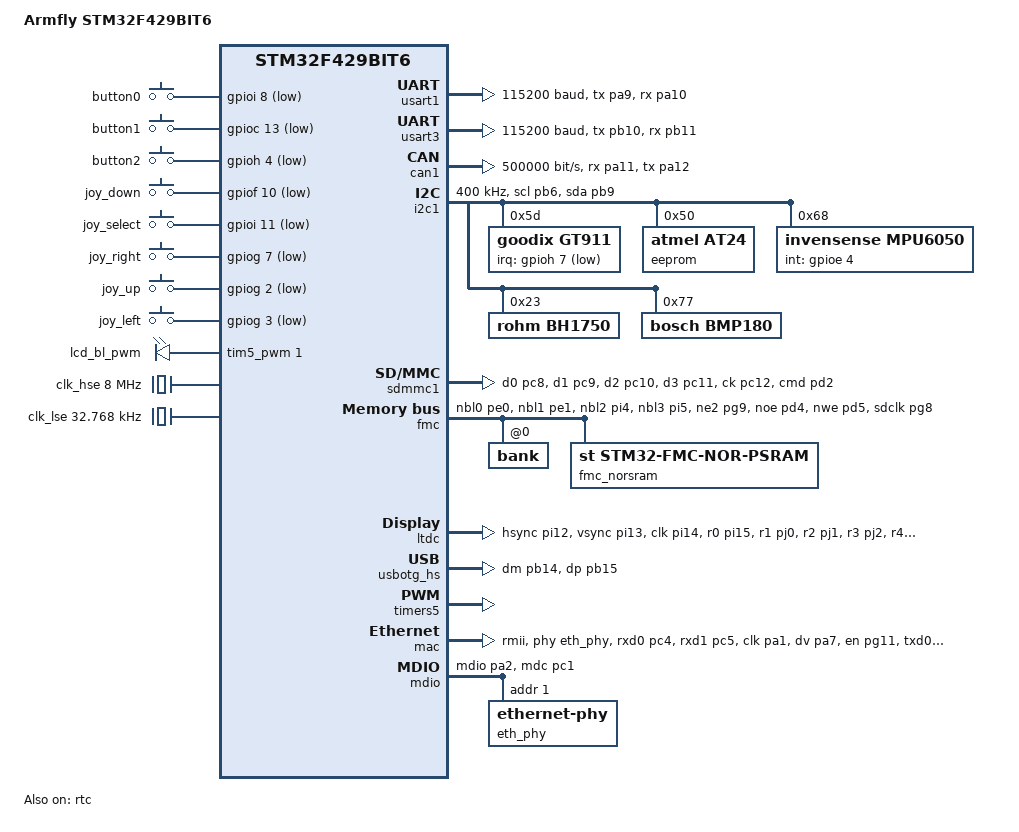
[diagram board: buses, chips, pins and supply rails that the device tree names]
/*
 * Copyright (c) 2026 Manyi Yu
 *
 * SPDX-License-Identifier: Apache-2.0
 */

/dts-v1/;
#include <st/f4/stm32f429Xi.dtsi>
#include <st/f4/stm32f429b(e-g-i)tx-pinctrl.dtsi>
#include <zephyr/dt-bindings/input/input-event-codes.h>
#include <zephyr/dt-bindings/memory-attr/memory-attr-arm.h>
#include <zephyr/dt-bindings/pwm/pwm.h>
#include <zephyr/dt-bindings/memory-controller/stm32-fmc-nor-psram.h>

/ {
	model = "Armfly STM32F429BIT6";
	compatible = "armfly,stm32f429bit6";

	chosen {
		zephyr,console = &usart1;
		zephyr,shell-uart = &usart1;
		zephyr,sram = &sram0;
		zephyr,flash = &flash0;
		zephyr,dtcm = &ccm0;
		zephyr,display = &ltdc;
		zephyr,touch = &gt911;
	};

	sdram1: sdram@c0000000 {
		compatible = "zephyr,memory-region", "mmio-sram";
		device_type = "memory";
		reg = <0xc0000000 DT_SIZE_M(16)>;
		zephyr,memory-region = "SDRAM1";
	};

	latch_gpio: gpio@64001000 {
		compatible = "gpio-mmio-latch";
		reg = <0x64001000 0x4>;
		gpio-controller;
		#gpio-cells = <2>;
		ngpios = <32>;
		initial-output = <0x00000f14>;
		status = "disabled";
	};

	leds: leds {
		compatible = "gpio-leds";
		status = "disabled";

		led0: led_0 {
			gpios = <&latch_gpio 8 GPIO_ACTIVE_LOW>;
		};

		led1: led_1 {
			gpios = <&latch_gpio 9 GPIO_ACTIVE_LOW>;
		};

		led2: led_2 {
			gpios = <&latch_gpio 10 GPIO_ACTIVE_LOW>;
		};

		led3: led_3 {
			gpios = <&latch_gpio 11 GPIO_ACTIVE_LOW>;
		};
	};

	buttons {
		compatible = "gpio-keys";
		polling-mode;

		button0: button_0 {
			gpios = <&gpioi 8 GPIO_ACTIVE_LOW>;
			zephyr,code = <INPUT_KEY_0>;
		};

		button1: button_1 {
			gpios = <&gpioc 13 GPIO_ACTIVE_LOW>;
			zephyr,code = <INPUT_KEY_1>;
		};

		button2: button_2 {
			gpios = <&gpioh 4 GPIO_ACTIVE_LOW>;
			zephyr,code = <INPUT_KEY_2>;
		};

		joy_down: joy-down {
			gpios = <&gpiof 10 GPIO_ACTIVE_LOW>;
			zephyr,code = <INPUT_KEY_DOWN>;
		};

		joy_select: joy-select {
			gpios = <&gpioi 11 GPIO_ACTIVE_LOW>;
			zephyr,code = <INPUT_KEY_ENTER>;
		};

		joy_right: joy-right {
			gpios = <&gpiog 7 GPIO_ACTIVE_LOW>;
			zephyr,code = <INPUT_KEY_RIGHT>;
		};

		joy_up: joy-up {
			gpios = <&gpiog 2 GPIO_ACTIVE_LOW>;
			zephyr,code = <INPUT_KEY_UP>;
		};

		joy_left: joy-left {
			gpios = <&gpiog 3 GPIO_ACTIVE_LOW>;
			zephyr,code = <INPUT_KEY_LEFT>;
		};
	};

	aliases {
		sw0 = &button0;
		sw1 = &button1;
		sw2 = &button2;
		sw3 = &joy_select;
		sw4 = &joy_down;
		sw5 = &joy_right;
		sw6 = &joy_up;
		sw7 = &joy_left;
		backlight-pwm = &lcd_bl_pwm;
	};

	backlight_pwm: backlight {
		compatible = "pwm-leds";

		lcd_bl_pwm: bl0 {
			pwms = <&tim5_pwm 1 PWM_USEC(100) PWM_POLARITY_NORMAL>;
		};
	};
};

&clk_lsi {
	status = "okay";
};

&clk_hse {
	clock-frequency = <DT_FREQ_M(8)>;
	status = "okay";
};

&clk_lse {
	clock-frequency = <32768>;
	status = "okay";
};

&pll {
	div-m = <8>;
	mul-n = <336>;
	div-p = <2>;
	div-q = <7>;
	clocks = <&clk_hse>;
	status = "okay";
};

&pllsai {
	div-m = <8>;
	mul-n = <420>;
	div-r = <7>;
	post-div-r = <2>;
	clocks = <&clk_hse>;
	status = "okay";
};

&rcc {
	clocks = <&pll>;
	clock-frequency = <DT_FREQ_M(168)>;
	ahb-prescaler = <1>;
	apb1-prescaler = <4>;
	apb2-prescaler = <2>;
};

&usart1 {
	pinctrl-0 = <&usart1_tx_pa9 &usart1_rx_pa10>;
	pinctrl-names = "default";
	current-speed = <115200>;
	status = "okay";
};

&usart2 {
	status = "disabled";
	pinctrl-0 = <&usart2_tx_pa2 &usart2_rx_pa3>;
	pinctrl-names = "default";
	current-speed = <115200>;
};

&usart3 {
	status = "okay";
	pinctrl-0 = <&usart3_tx_pb10 &usart3_rx_pb11>;
	pinctrl-names = "default";
	current-speed = <115200>;
};

&can1 {
	status = "okay";
	pinctrl-0 = <&can1_rx_pa11 &can1_tx_pa12>;
	pinctrl-names = "default";
	bitrate = <500000>;
};

&can2 {
	status = "disabled";
	pinctrl-0 = <&can2_rx_pb12 &can2_tx_pb13>;
	pinctrl-names = "default";
	bitrate = <500000>;
};

&rtc {
	clocks = <&rcc STM32_CLOCK(APB1, 28)>, <&rcc STM32_SRC_LSI RTC_SEL(2)>;
	status = "okay";
};

&i2c1 {
	pinctrl-0 = <&i2c1_scl_pb6 &i2c1_sda_pb9>;
	pinctrl-names = "default";
	status = "okay";
	clock-frequency = <I2C_BITRATE_FAST>;

	gt911: gt911@5d {
		compatible = "goodix,gt911";
		reg = <0x5d>;
		irq-gpios = <&gpioh 7 (GPIO_ACTIVE_LOW | GPIO_PULL_UP)>;
		alt-addr = <0x14>;
	};

	eeprom: eeprom@50 {
		compatible = "atmel,at24";
		reg = <0x50>;
		size = <DT_SIZE_K(16)>;
		pagesize = <64>;
		address-width = <16>;
		timeout = <5>;
		status = "okay";
	};

	mpu6050: accel-gyro@68 {
		compatible = "invensense,mpu6050";
		reg = <0x68>;
		int-gpios = <&gpioe 4 GPIO_ACTIVE_HIGH>;
		accel-fs = <2>;
		gyro-fs = <250>;
		smplrt-div = <249>;
		status = "okay";
	};

	bh1750: light-sensor@23 {
		compatible = "rohm,bh1750";
		reg = <0x23>;
		resolution = <1>;
		mtreg = <69>;
		status = "okay";
	};

	bmp180: pressure-sensor@77 {
		compatible = "bosch,bmp180";
		reg = <0x77>;
		osr-press = <3>;
		status = "okay";
	};
};

&spi1 {
	status = "disabled";
	pinctrl-0 = <&spi1_sck_pa5 &spi1_miso_pa6 &spi1_mosi_pa7>;
	pinctrl-names = "default";
	cs-gpios = <&gpiof 11 GPIO_ACTIVE_LOW>, <&gpiog 11 GPIO_ACTIVE_LOW>,
		   <&gpioc 3 GPIO_ACTIVE_LOW>;

	w25q64: spi-nor-flash@0 {
		compatible = "jedec,spi-nor";
		reg = <0>;
		spi-max-frequency = <50000000>;
		jedec-id = [ef 40 17];
		size = <DT_SIZE_M(8)>;
		status = "disabled";
	};
};

&sdmmc1 {
	status = "okay";
	pinctrl-0 = <&sdio_d0_pc8
		     &sdio_d1_pc9
		     &sdio_d2_pc10
		     &sdio_d3_pc11
		     &sdio_ck_pc12
		     &sdio_cmd_pd2>;
	pinctrl-names = "default";
	cd-gpios = <&gpioe 2 GPIO_ACTIVE_LOW>;
	disk-name = "SD";
	clocks = <&rcc STM32_CLOCK(APB2, 11)>, <&rcc STM32_SRC_PLL_Q CK48M_SEL(0)>;
};

&fmc {
	status = "okay";
	pinctrl-0 = <&fmc_nbl0_pe0 &fmc_nbl1_pe1
		     &fmc_nbl2_pi4 &fmc_nbl3_pi5
		     &fmc_ne2_pg9
		     &fmc_noe_pd4
		     &fmc_nwe_pd5
		     &fmc_sdclk_pg8
		     &fmc_sdcke0_ph2 &fmc_sdne0_ph3 &fmc_sdnwe_ph5
		     &fmc_sdnras_pf11 &fmc_sdncas_pg15
		     &fmc_a0_pf0 &fmc_a1_pf1 &fmc_a2_pf2 &fmc_a3_pf3
		     &fmc_a4_pf4 &fmc_a5_pf5 &fmc_a6_pf12 &fmc_a7_pf13
		     &fmc_a8_pf14 &fmc_a9_pf15 &fmc_a10_pg0 &fmc_a11_pg1
		     &fmc_a14_pg4 &fmc_a15_pg5
		     &fmc_d0_pd14 &fmc_d1_pd15 &fmc_d2_pd0 &fmc_d3_pd1
		     &fmc_d4_pe7 &fmc_d5_pe8 &fmc_d6_pe9 &fmc_d7_pe10
		     &fmc_d8_pe11 &fmc_d9_pe12 &fmc_d10_pe13 &fmc_d11_pe14
		     &fmc_d12_pe15 &fmc_d13_pd8 &fmc_d14_pd9 &fmc_d15_pd10
		     &fmc_d16_ph8 &fmc_d17_ph9 &fmc_d18_ph10 &fmc_d19_ph11
		     &fmc_d20_ph12 &fmc_d21_ph13 &fmc_d22_ph14 &fmc_d23_ph15
		     &fmc_d24_pi0 &fmc_d25_pi1 &fmc_d26_pi2 &fmc_d27_pi3
		     &fmc_d28_pi6 &fmc_d29_pi7 &fmc_d30_pi9 &fmc_d31_pi10>;
	pinctrl-names = "default";

	sdram {
		status = "okay";
		power-up-delay = <100>;
		num-auto-refresh = <8>;
		mode-register = <0x230>;
		refresh-rate = <1292>;

		bank@0 {
			reg = <0>;

			st,sdram-control = <STM32_FMC_SDRAM_NC_8
					    STM32_FMC_SDRAM_NR_12
					    STM32_FMC_SDRAM_MWID_32
					    STM32_FMC_SDRAM_NB_4
					    STM32_FMC_SDRAM_CAS_3
					    STM32_FMC_SDRAM_SDCLK_PERIOD_2
					    STM32_FMC_SDRAM_RBURST_ENABLE
					    STM32_FMC_SDRAM_RPIPE_0>;

			st,sdram-timing = <2 6 4 6 2 2 2>;
		};
	};

	fmc_norsram: sram {
		status = "okay";
		compatible = "st,stm32-fmc-nor-psram";
		#address-cells = <1>;
		#size-cells = <0>;

		latch_bank: bank@2 {
			reg = <STM32_FMC_NORSRAM_BANK2>;

			st,control = <STM32_FMC_DATA_ADDRESS_MUX_DISABLE
				      STM32_FMC_MEMORY_TYPE_SRAM
				      STM32_FMC_NORSRAM_MEM_BUS_WIDTH_32
				      STM32_FMC_BURST_ACCESS_MODE_DISABLE
				      STM32_FMC_WAIT_SIGNAL_POLARITY_LOW
				      STM32_FMC_WAIT_TIMING_BEFORE_WS
				      STM32_FMC_WRITE_OPERATION_ENABLE
				      STM32_FMC_WAIT_SIGNAL_DISABLE
				      STM32_FMC_EXTENDED_MODE_DISABLE
				      STM32_FMC_ASYNCHRONOUS_WAIT_DISABLE
				      STM32_FMC_WRITE_BURST_DISABLE
				      STM32_FMC_CONTINUOUS_CLOCK_SYNC_ONLY
				      STM32_FMC_WRITE_FIFO_ENABLE
				      STM32_FMC_PAGE_SIZE_NONE>;

			st,timing = <3 0 6 3 0 0 STM32_FMC_ACCESS_MODE_A>;
		};
	};
};

&ltdc {
	pinctrl-0 = <&ltdc_hsync_pi12 &ltdc_vsync_pi13 &ltdc_clk_pi14 &ltdc_r0_pi15
		     &ltdc_r1_pj0 &ltdc_r2_pj1 &ltdc_r3_pj2 &ltdc_r4_pj3
		     &ltdc_r5_pj4 &ltdc_r6_pj5 &ltdc_r7_pj6 &ltdc_g0_pj7
		     &ltdc_g1_pj8 &ltdc_g2_pj9 &ltdc_g3_pj10 &ltdc_g4_pj11
		     &ltdc_b0_pj12 &ltdc_b1_pj13 &ltdc_b2_pj14 &ltdc_b3_pj15
		     &ltdc_g5_pk0 &ltdc_g6_pk1 &ltdc_g7_pk2 &ltdc_b4_pk3
		     &ltdc_b5_pk4 &ltdc_b6_pk5 &ltdc_b7_pk6 &ltdc_de_pk7>;
	pinctrl-names = "default";
	ext-sdram = <&sdram1>;
	status = "okay";

	width = <800>;
	height = <480>;
	pixel-format = <PANEL_PIXEL_FORMAT_RGB_888>;

	display-timings {
		compatible = "zephyr,panel-timing";

		de-active = <0>;
		pixelclk-active = <0>;
		hsync-active = <0>;
		vsync-active = <0>;

		hsync-len = <80>;
		hback-porch = <10>;
		hfront-porch = <10>;

		vsync-len = <10>;
		vback-porch = <10>;
		vfront-porch = <10>;
	};

	def-back-color-red = <0x00>;
	def-back-color-green = <0x00>;
	def-back-color-blue = <0x00>;
};

zephyr_udc0: &usbotg_hs {
	pinctrl-0 = <&usb_otg_hs_dm_pb14 &usb_otg_hs_dp_pb15>;
	pinctrl-names = "default";
	status = "okay";
};

&timers5 {
	status = "okay";

	tim5_pwm: pwm {
		compatible = "st,stm32-pwm";
		status = "okay";
		pinctrl-0 = <&tim5_ch1_pa0>;
		pinctrl-names = "default";
	};
};

&mac {
	status = "okay";
	pinctrl-0 = <&eth_rxd0_pc4
		     &eth_rxd1_pc5
		     &eth_ref_clk_pa1
		     &eth_crs_dv_pa7
		     &eth_tx_en_pg11
		     &eth_txd0_pg13
		     &eth_txd1_pb13>;
	pinctrl-names = "default";
	phy-connection-type = "rmii";
	phy-handle = <&eth_phy>;
};

&mdio {
	status = "okay";
	pinctrl-0 = <&eth_mdio_pa2 &eth_mdc_pc1>;
	pinctrl-names = "default";

	eth_phy: ethernet-phy@1 {
		compatible = "ethernet-phy";
		reg = <0x01>;
	};
};

&ltdc_hsync_pi12 {
	slew-rate = "very-high-speed";
};

&ltdc_vsync_pi13 {
	slew-rate = "very-high-speed";
};

&ltdc_clk_pi14 {
	slew-rate = "very-high-speed";
};

&ltdc_r0_pi15 {
	slew-rate = "very-high-speed";
};

&ltdc_r1_pj0 {
	slew-rate = "very-high-speed";
};

&ltdc_r2_pj1 {
	slew-rate = "very-high-speed";
};

&ltdc_r3_pj2 {
	slew-rate = "very-high-speed";
};

&ltdc_r4_pj3 {
	slew-rate = "very-high-speed";
};

&ltdc_r5_pj4 {
	slew-rate = "very-high-speed";
};

&ltdc_r6_pj5 {
	slew-rate = "very-high-speed";
};

&ltdc_r7_pj6 {
	slew-rate = "very-high-speed";
};

&ltdc_g0_pj7 {
	slew-rate = "very-high-speed";
};

&ltdc_g1_pj8 {
	slew-rate = "very-high-speed";
};

&ltdc_g2_pj9 {
	slew-rate = "very-high-speed";
};

&ltdc_g3_pj10 {
	slew-rate = "very-high-speed";
};

&ltdc_g4_pj11 {
	slew-rate = "very-high-speed";
};

&ltdc_g5_pk0 {
	slew-rate = "very-high-speed";
};

&ltdc_g6_pk1 {
	slew-rate = "very-high-speed";
};

&ltdc_g7_pk2 {
	slew-rate = "very-high-speed";
};

&ltdc_b0_pj12 {
	slew-rate = "very-high-speed";
};

&ltdc_b1_pj13 {
	slew-rate = "very-high-speed";
};

&ltdc_b2_pj14 {
	slew-rate = "very-high-speed";
};

&ltdc_b3_pj15 {
	slew-rate = "very-high-speed";
};

&ltdc_b4_pk3 {
	slew-rate = "very-high-speed";
};

&ltdc_b5_pk4 {
	slew-rate = "very-high-speed";
};

&ltdc_b6_pk5 {
	slew-rate = "very-high-speed";
};

&ltdc_b7_pk6 {
	slew-rate = "very-high-speed";
};

&ltdc_de_pk7 {
	slew-rate = "very-high-speed";
};
